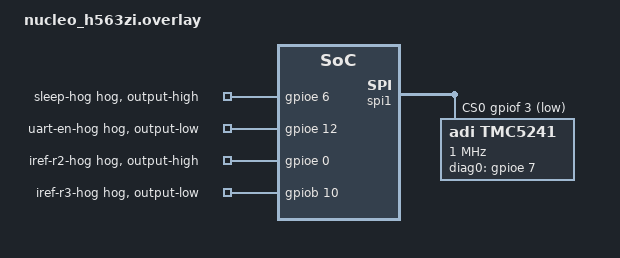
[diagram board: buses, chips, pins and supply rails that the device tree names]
/*
 * SPDX-FileCopyrightText: Copyright (c) 2026
 * SPDX-License-Identifier: Apache-2.0
 *
 * TMC5241-EVKIT on the Nucleo-H563ZI through the "Sternbruecke Nucleo V0.1"
 * adapter. Same wiring as samples/drivers/stepper/generic/boards/
 * nucleo_h563zi_tmc5241.overlay (see its header for the pin trace and for how
 * the chip-select was found): the Eval connector's SPI1_nCS (pin 30) is
 * Nucleo D8 = PF3, and the SPI clock and data pins are the board defaults.
 *
 * The board-level control pins are driven once at boot with GPIO hogs, so
 * this sample needs no board specific code. Their states are the ones that
 * were used for the bench bring-up of the generic sample:
 *   SLEEPN  (PE6)  high   - low or floating puts the chip to sleep
 *   UART_EN (PE12) low    - SPI mode
 *   IREF_R2 (PE0)  high   - as in the generic sample bring-up
 *   IREF_R3 (PB10) low
 *
 * The ramp values are slow on purpose: with fCLK = 16 MHz,
 * v[Hz] = v * fCLK / 2^24, so vmax = 100000 is about 95k microsteps/s, or
 * 1.9 rev/s at 256 microsteps/step and 200 full steps/rev. IRUN 10 of 31 is
 * about 0.23 A RMS.
 *
 * StallGuard2 (SpreadCycle, so no en-pwm-mode) was tuned on the bench with a
 * QSH2818-32-07-006 motor at 24 V, 0.5 A supply limit and this speed. At
 * stallguard2-threshold = 4 the unloaded SG_RESULT while cruising was about
 * 96-117 and it fell to 0-5 when the shaft was blocked. The window is narrow:
 * each step of the threshold moves the reading by about 47, 2 reads 0 even
 * unloaded (false stalls) and 6 and above leave a blocked shaft at 30-60. It
 * needs retuning for another motor, current, supply or speed. tcoolthrs = 200
 * enables the chip's stall output only above about 84000 (TSTEP <= 200), which
 * keeps the unreliable low-speed readings out. The sample arms the stall stop
 * above CONFIG_STALLGUARD_THRESHOLD_VELOCITY, set in nucleo_h563zi.conf.
 */

/ {
	aliases {
		stepper-driver = &tmc5241_stepper_driver;
		stepper-ctrl = &tmc5241_motion_controller;
	};
};

&gpioe {
	sleep-hog {
		gpio-hog;
		gpios = <6 GPIO_ACTIVE_HIGH>;
		output-high;
	};

	uart-en-hog {
		gpio-hog;
		gpios = <12 GPIO_ACTIVE_HIGH>;
		output-low;
	};

	iref-r2-hog {
		gpio-hog;
		gpios = <0 GPIO_ACTIVE_HIGH>;
		output-high;
	};
};

&gpiob {
	iref-r3-hog {
		gpio-hog;
		gpios = <10 GPIO_ACTIVE_HIGH>;
		output-low;
	};
};

&spi1 {
	cs-gpios = <&gpiof 3 GPIO_ACTIVE_LOW>; /* Eval pin 30 SPI1_nCS = D8 */
	status = "okay";

	tmc5241: tmc5241@0 {
		compatible = "adi,tmc5241";
		reg = <0>;
		spi-max-frequency = <DT_FREQ_M(1)>;

		/* Sternbruecke Y201 XTAL OSC */
		clock-frequency = <16000000>;
		diag0-gpios = <&gpioe 7 GPIO_ACTIVE_HIGH>;

		tmc5241_stepper_driver: stepper-driver {
			compatible = "adi,tmc5241-stepper-driver";
			en-gpios = <&gpioa 3 GPIO_ACTIVE_LOW>; /* DRV_ENN active-low */
			micro-step-res = <256>;
			stallguard2-threshold = <4>;
		};

		tmc5241_motion_controller: stepper-ctrl {
			compatible = "adi,tmc5241-stepper-ctrl";
			vstart = <100>;
			vstop = <200>;
			a1 = <3000>;
			v1 = <50000>;
			d1 = <3000>;
			vmax = <100000>;
			amax = <3000>;
			dmax = <3000>;
			tzerowait = <100>;
			thigh = <0>;
			tcoolthrs = <200>;
			ihold = <1>;
			irun = <10>;
			iholddelay = <1>;
		};
	};
};
